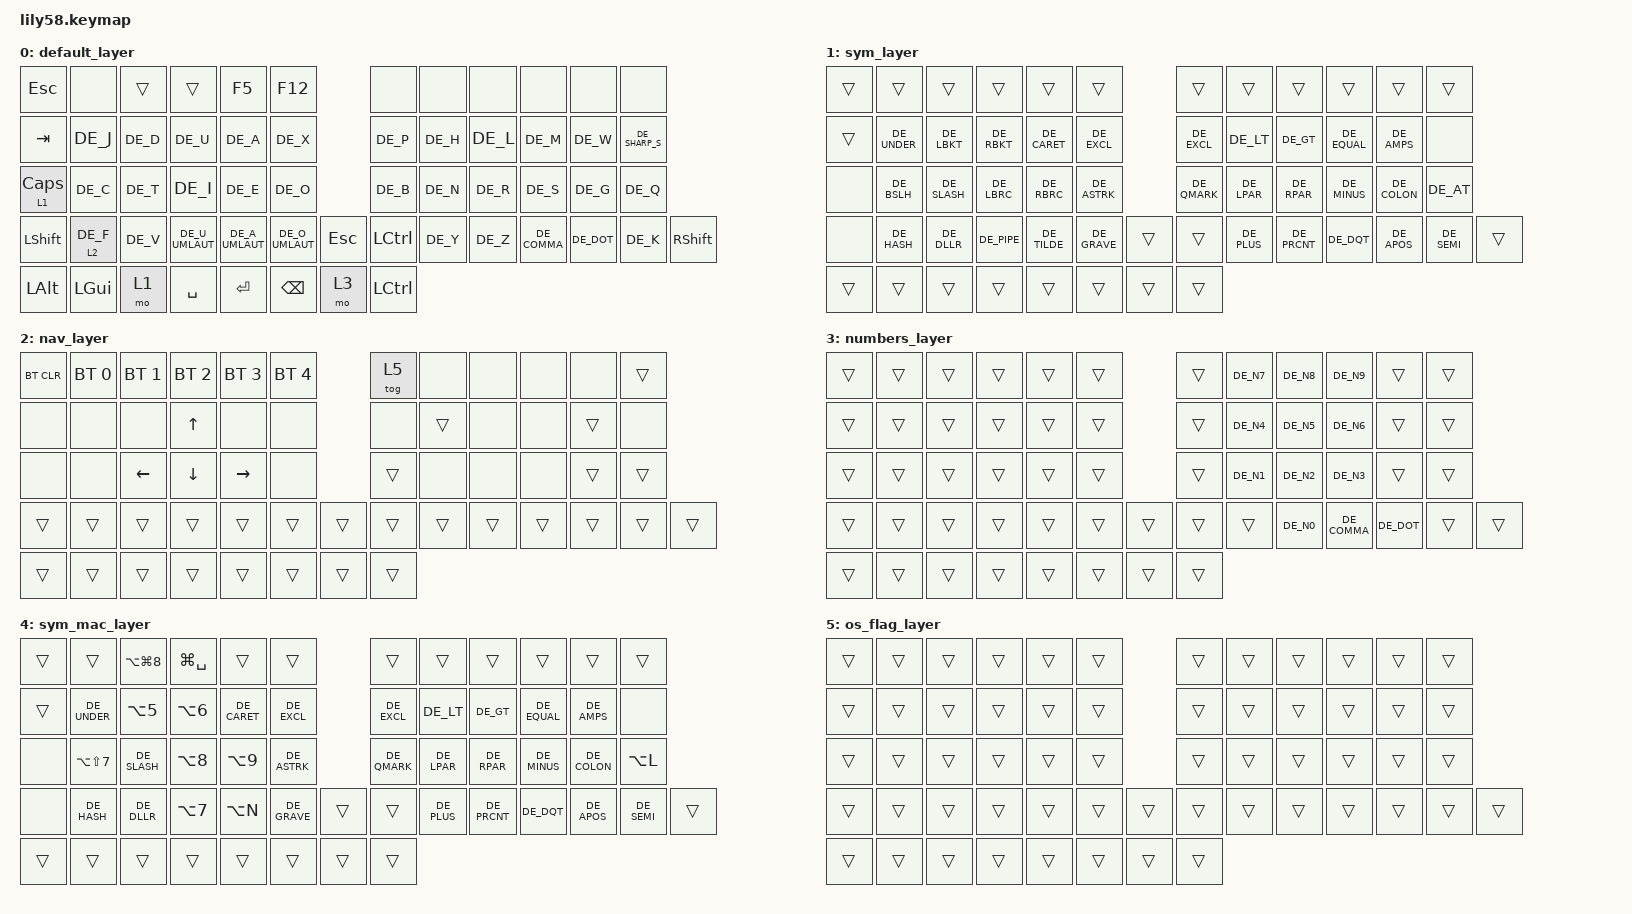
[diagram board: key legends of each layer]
/*
 * Bone-Layout fuer Lily58 (ZMK) - QWERTZ-Version mit zmk-locales
 * ------------------------------------------------------------------
 * Diese Keymap nutzt das Modul "zmk-locales" (joelspadin) und dessen
 * German-Header. Dadurch schreibst du direkt das Zeichen, das erscheinen
 * soll (DE_...), und musst nicht mehr im Kopf auf US-QWERTY umrechnen.
 *
 * Voraussetzung:
 *   1) Der Host ist auf DEUTSCH (QWERTZ) eingestellt -- unter Linux/Windows
 *      ODER unter macOS (Eingabequelle "Deutsch", NICHT US!).
 *   2) Modul in config/west.yml eingetragen (siehe Chat / README).
 *
 * OS-Toggle (Mac <-> Linux/Windows):
 *   Auf dem Mac liegen die AltGr-Zeichen ( @ [ ] { } \ | ~ ) auf
 *   Option-Kombinationen statt auf AltGr. Der "Mac-Modus" wird ueber
 *   &tog 5 umgeschaltet (Taste liegt auf dem NAV-Layer, neben den BT-Tasten).
 *   - Mac-Modus AUS  -> AltGr-Zeichen wie gehabt (Linux/Windows-Deutsch)
 *   - Mac-Modus AN   -> beim Halten von SYM senden die betroffenen Tasten
 *                       die Option-Varianten (macOS-Deutsch)
 *   Der Zustand bleibt ueber Neustarts NICHT automatisch erhalten; einmal
 *   druecken nach dem Wechsel genuegt.
 *
 *   Hinweis: Das [ auf der GRUNDEBENE (DE_LBKT) wird im Mac-Modus vorerst
 *   NICHT korrigiert (bewusst so gelassen). Betroffen ist nur diese eine
 *   Taste; das [ auf der SYM-Ebene funktioniert im Mac-Modus korrekt.
 *
 * Hinweis Totentasten (Dead Keys) auf QWERTZ:
 *   DE_CARET (^), DE_GRAVE (`) und DE_ACUTE (´) erscheinen erst,
 *   wenn danach Leertaste oder ein Buchstabe folgt. Das ist normal.
 *   Achtung: Auf dem Mac ist auch ~ eine Totentaste (Option+N). Siehe MAC_TILDE.
 *
 * Layer:
 *   0 = Bone Grundebene
 *   1 = SYM      (Programmier-/Sonderzeichen, Linux/Windows)
 *   2 = NAV      (Pfeile, Navigation, BT, OS-Toggle)
 *   3 = NUMBERS  (Ziffernblock)
 *   4 = SYM_MAC  (Mac-Variante von SYM; wird automatisch aktiv, wenn
 *                 SYM + OS_FLAG zusammen aktiv sind -> Conditional Layer)
 *   5 = OS_FLAG  (leerer Marker-Layer; schaltet den Mac-Modus, via &tog 5)
 * ------------------------------------------------------------------
 */

#include <behaviors.dtsi>
#include <dt-bindings/zmk/keys.h>
#include <dt-bindings/zmk/bt.h>
#include <dt-bindings/zmk/ext_power.h>
#include <locale/keys_de.h>

/*
 * macOS-Deutsch Aequivalente der AltGr-Zeichen.
 * LA(...) = linke Option-Taste (= Left Alt). Buchstaben-/Zahlen-HID-Codes
 * (L, N5, ...) beziehen sich auf die physische Tastenposition, die unter
 * dem Mac-Deutsch-Layout die gewuenschte Option-Kombination ausloest.
 */
#define MAC_AT    LA(L)          /* @  = Option+L        */
#define MAC_LBKT  LA(N5)         /* [  = Option+5        */
#define MAC_RBKT  LA(N6)         /* ]  = Option+6        */
#define MAC_LBRC  LA(N8)         /* {  = Option+8        */
#define MAC_RBRC  LA(N9)         /* }  = Option+9        */
#define MAC_PIPE  LA(N7)         /* |  = Option+7        */
#define MAC_BSLH  LA(LS(N7))     /* \  = Option+Shift+7  */
#define MAC_TILDE LA(N)          /* ~  = Option+N (Totentaste, siehe unten) */

&nice_view_spi {
cs-gpios = <&pro_micro 4 GPIO_ACTIVE_HIGH>;
};

/ {
    /*
     * Wenn SYM (1) UND OS_FLAG (5) gleichzeitig aktiv sind, wird
     * automatisch SYM_MAC (4) obendrauf gelegt. So gelten die Mac-Symbole
     * nur beim Halten von SYM und kollidieren nicht mit den Buchstaben
     * der Grundebene.
     */
    conditional_layers {
        compatible = "zmk,conditional-layers";
        mac_sym {
            if-layers = <1 5>;
            then-layer = <4>;
        };
    };

     keymap {
        compatible = "zmk,keymap";

        default_layer {
            bindings = <
                &kp ESC &none &trans &trans &kp F5 &kp F12 &none &none &none &none &none &none
                &kp TAB &kp DE_J &kp DE_D &kp DE_U &kp DE_A &kp DE_X &kp DE_P &kp DE_H &kp DE_L &kp DE_M &kp DE_W &kp DE_SHARP_S
                &lt 1 CAPS &kp DE_C &kp DE_T &kp DE_I &kp DE_E &kp DE_O &kp DE_B &kp DE_N &kp DE_R &kp DE_S &kp DE_G &kp DE_Q
                &kp LSHFT &lt 2 DE_F &kp DE_V &kp DE_U_UMLAUT &kp DE_A_UMLAUT &kp DE_O_UMLAUT &kp ESC &kp LCTRL &kp DE_Y &kp DE_Z &kp DE_COMMA &kp DE_DOT &kp DE_K &kp RSHFT
                &kp LALT &kp LGUI &mo 1 &kp SPACE &kp RET &kp BSPC &mo 3 &kp LCTRL
            >;
        };

        sym_layer {
            bindings = <
                &trans &trans &trans &trans &trans &trans &trans &trans &trans &trans &trans &trans
                &trans &kp DE_UNDER &kp DE_LBKT &kp DE_RBKT &kp DE_CARET &kp DE_EXCL &kp DE_EXCL &kp DE_LT &kp DE_GT &kp DE_EQUAL &kp DE_AMPS &none
                &none &kp DE_BSLH &kp DE_SLASH &kp DE_LBRC &kp DE_RBRC &kp DE_ASTRK &kp DE_QMARK &kp DE_LPAR &kp DE_RPAR &kp DE_MINUS &kp DE_COLON &kp DE_AT
                &none &kp DE_HASH &kp DE_DLLR &kp DE_PIPE &kp DE_TILDE &kp DE_GRAVE &trans &trans &kp DE_PLUS &kp DE_PRCNT &kp DE_DQT &kp DE_APOS &kp DE_SEMI &trans
                &trans &trans &trans &trans &trans &trans &trans &trans
            >;
        };

        nav_layer {
            bindings = <
                &bt BT_CLR &bt BT_SEL 0 &bt BT_SEL 1 &bt BT_SEL 2 &bt BT_SEL 3 &bt BT_SEL 4 &tog 5 &none &none &none &none &trans
                &none &none &none &kp UP &none &none &none &trans &none &none &trans &none
                &none &none &kp LEFT &kp DOWN &kp RIGHT &none &trans &none &none &none &trans &trans
                &trans &trans &trans &trans &trans &trans &trans &trans &trans &trans &trans &trans &trans &trans
                &trans &trans &trans &trans &trans &trans &trans &trans
            >;
        };

        numbers_layer {
            bindings = <
                &trans &trans &trans &trans &trans &trans &trans &kp DE_N7 &kp DE_N8 &kp DE_N9 &trans &trans
                &trans &trans &trans &trans &trans &trans &trans &kp DE_N4 &kp DE_N5 &kp DE_N6 &trans &trans
                &trans &trans &trans &trans &trans &trans &trans &kp DE_N1 &kp DE_N2 &kp DE_N3 &trans &trans
                &trans &trans &trans &trans &trans &trans &trans &trans &trans &kp DE_N0 &kp DE_COMMA &kp DE_DOT &trans &trans
                &trans &trans &trans &trans &trans &trans &trans &trans
            >;
        };

        sym_mac_layer {
            bindings = <
                &trans &trans &kp LA(LG(N8)) &kp LG(SPACE) &trans &trans &trans &trans &trans &trans &trans &trans
                &trans &kp DE_UNDER &kp MAC_LBKT &kp MAC_RBKT &kp DE_CARET &kp DE_EXCL &kp DE_EXCL &kp DE_LT &kp DE_GT &kp DE_EQUAL &kp DE_AMPS &none
                &none &kp MAC_BSLH &kp DE_SLASH &kp MAC_LBRC &kp MAC_RBRC &kp DE_ASTRK &kp DE_QMARK &kp DE_LPAR &kp DE_RPAR &kp DE_MINUS &kp DE_COLON &kp MAC_AT
                &none &kp DE_HASH &kp DE_DLLR &kp MAC_PIPE &kp MAC_TILDE &kp DE_GRAVE &trans &trans &kp DE_PLUS &kp DE_PRCNT &kp DE_DQT &kp DE_APOS &kp DE_SEMI &trans
                &trans &trans &trans &trans &trans &trans &trans &trans
            >;
        };

        os_flag_layer {
            bindings = <
                &trans &trans &trans &trans &trans &trans &trans &trans &trans &trans &trans &trans
                &trans &trans &trans &trans &trans &trans &trans &trans &trans &trans &trans &trans
                &trans &trans &trans &trans &trans &trans &trans &trans &trans &trans &trans &trans
                &trans &trans &trans &trans &trans &trans &trans &trans &trans &trans &trans &trans &trans &trans
                &trans &trans &trans &trans &trans &trans &trans &trans
            >;
        };
    };
};
